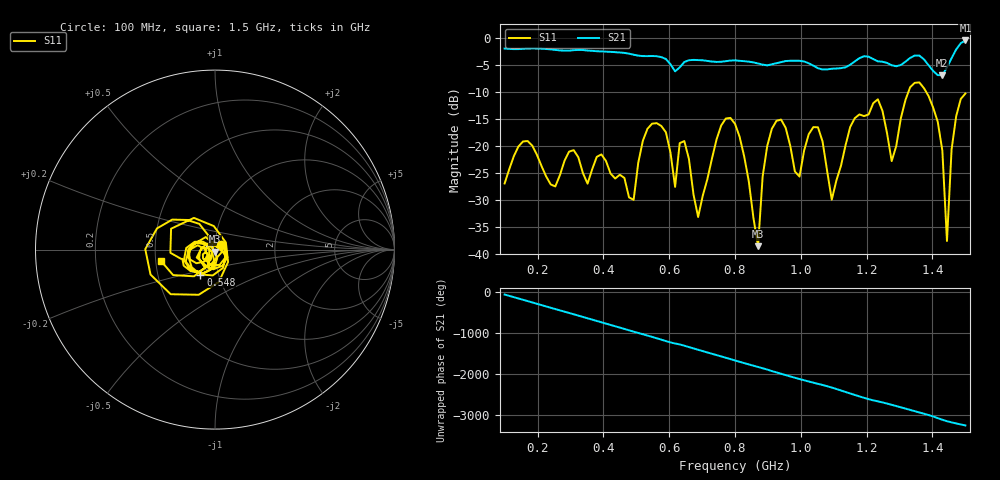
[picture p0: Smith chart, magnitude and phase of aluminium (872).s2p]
! NanoVNA-App
! Date: 2025-09-25 15:02:04
! Start: 100MHz Stop: 1,5GHz Points: 101
! S-Parameter data: F S11 S21 S12 S22
# Hz S RI R 50
!  Frequency  S11_Real  S11_Imag  S21_Real  S21_Imag  S12_Real  S12_Imag  S22_Real  S22_Imag
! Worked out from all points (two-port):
!   101 points, 100 MHz to 1.5 GHz, reference 50 ohm
!   highest |S21| = -0.42 dB at 1.5 GHz (marker M1); lowest = -6.9 dB at 1.43 GHz (marker M2)
!   |S21| within 3 dB of the highest: start of sweep to 568.9 MHz; 1.46 GHz to end of sweep (the widest 2 of 4)
!   lowest |S11| = -38.6 dB at 870 MHz (marker M3), VSWR 1.02, Z = 50 - j1.18 ohm
!   |S11| at or under -10 dB: start of sweep to 1.327 GHz; 1.381 GHz to end of sweep
!   S12 and S22 are empty: the file has one direction only
!   S11 on the Smith chart (normalised r, x): 100 MHz: 1.07, +0.06; 548 MHz: 0.82, -0.23; 1.5 GHz: 0.54, -0.08
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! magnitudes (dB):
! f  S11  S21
! 100 MHz  -27.0  -1.9
! 156 MHz  -19.2  -2.0
! 338 MHz  -25.0  -2.2
! 492 MHz  -30.0  -3.1
! 548 MHz  -15.9  -3.3
! 576 MHz  -16.3  -3.5
! 618 MHz  -27.6  -6.2
! 646 MHz  -19.1  -4.4
! 688 MHz  -33.2  -4.1
! 800 MHz  -15.9  -4.1
! 870 MHz  -38.6  -4.7
! 912 MHz  -16.8  -4.8
! 996 MHz  -25.7  -4.2
! 1.038 GHz  -16.5  -5.1
! 1.094 GHz  -30.0  -5.7
! 1.234 GHz  -11.3  -4.3
! 1.276 GHz  -22.8  -5.0
! 1.346 GHz  -8.3  -3.2
! 1.43 GHz  -20.9  -6.9
! 1.444 GHz  -37.6  -5.4
! 1.458 GHz  -20.7  -3.7
! 1.5 GHz  -10.3  -0.4
